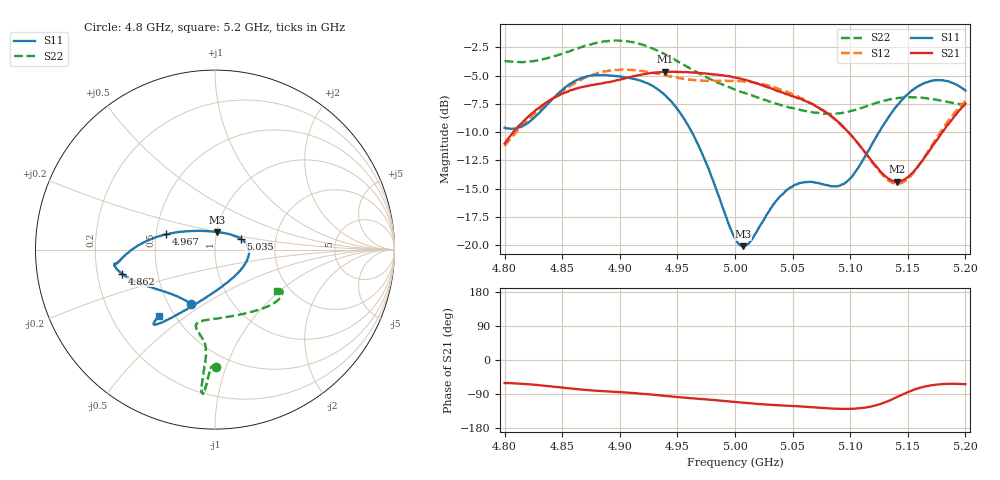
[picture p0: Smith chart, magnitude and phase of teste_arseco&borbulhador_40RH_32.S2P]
! Network Analyzer HP8722D
! Hewlett-Packard
! Data name: Linha & Wilkinson
! Saver's name: Rodrigo Anjos
! Comments: Teste da utilização de aquisição
! continua pelo VNA HP8722D
! Time and date: 15/4/2025 16:37
!  Frequency  S11  S21  S12  S22
# HZ  S  MA R 50
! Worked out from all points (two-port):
!   401 points, 4.8 GHz to 5.2 GHz, reference 50 ohm
!   highest |S21| = -4.64 dB at 4.939 GHz (marker M1); lowest = -14.4 dB at 5.141 GHz (marker M2)
!   |S21| within 3 dB of the highest: 4.832 GHz to 5.069 GHz (236.7 MHz wide, 4.78 % of centre); 5.198596 GHz to end of sweep
!   lowest |S11| = -20.1 dB at 5.007 GHz (marker M3), VSWR 1.22, Z = 50.1 + j9.94 ohm
!   |S11| at or under -10 dB: 4.963 GHz to 5.125 GHz (162.5 MHz wide, 3.22 % of centre)
!   |S22| runs from -8.4 to -1.9 dB; largest |S21 - S12| = 0.88
!   S11 on the Smith chart (normalised r, x): 4.8 GHz: 0.65, -0.44; 4.862 GHz: 0.31, -0.12; 4.967 GHz: 0.57, +0.10; 5.035 GHz: 1.32, +0.16; 5.2 GHz: 0.41, -0.40
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4.8e9  0.3309 -113.6  0.2814 -60.8  0.2748 -175.0  0.6537 -89.4
4.819e9  0.3446 -133.5  0.364 -63.7  0.3524 -173.2  0.6479 -91.1
4.862e9  0.5357 -165.5  0.4937 -76.7  0.5261 -176.3  0.7398 -93.5
4.867e9  0.5495 -167.5  0.5006 -78.1  0.5423 -177.3  0.7543 -93.6
4.898e9  0.5593 -172.0  0.5374 -84.3  0.5955 176.4  0.8053 -94.9
4.934e9  0.4857 -177.9  0.5822 -93.2  0.5741 172.0  0.7195 -95.5
4.939e9  0.462 -180.0  0.5864 -94.7  0.5666 171.9  0.7006 -95.4
4.954e9  0.3742 171.9  0.584 -98.8  0.547 172.7  0.6347 -95.1
4.967e9  0.2851 162.6  0.5801 -102.0  0.5361 174.1  0.5817 -94.9
5e9  0.1073 107.6  0.5535 -110.8  0.5325 176.6  0.4884 -99.2
5.007e9  0.09891 84.0  0.5412 -112.6  0.5304 176.5  0.4743 -100.8
5.014e9  0.1049 61.5  0.5301 -114.5  0.5276 176.2  0.4614 -102.5
5.035e9  0.155 23.0  0.4852 -118.9  0.497 175.3  0.4246 -103.8
5.05e9  0.1822 7.3  0.4566 -121.5  0.4643 174.5  0.4043 -100.4
5.067e9  0.1902 -11.0  0.4215 -124.7  0.4227 174.0  0.388 -92.0
5.087e9  0.182 -43.4  0.3599 -128.6  0.3587 173.9  0.3827 -77.0
5.097e9  0.1906 -64.6  0.3219 -129.1  0.3213 174.5  0.3882 -68.5
5.134e9  0.373 -115.9  0.196 -107.0  0.1922 -159.9  0.4413 -43.3
5.141e9  0.4167 -119.9  0.1907 -97.2  0.1872 -148.9  0.4477 -40.2
5.153e9  0.4812 -124.8  0.2068 -81.2  0.2036 -130.3  0.4515 -35.9
5.171e9  0.5338 -128.6  0.2722 -66.6  0.2766 -112.4  0.4429 -31.8
5.2e9  0.4831 -130.3  0.4225 -63.9  0.4343 -106.0  0.4156 -33.4
